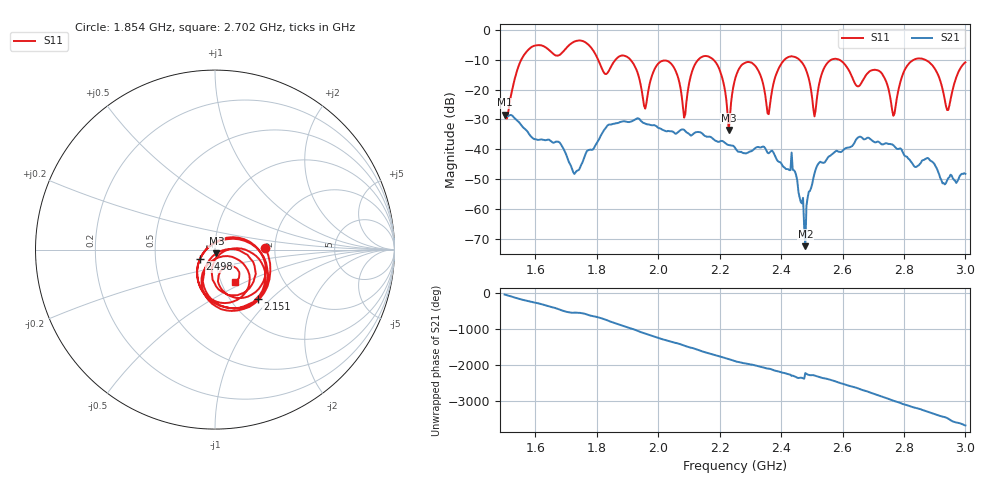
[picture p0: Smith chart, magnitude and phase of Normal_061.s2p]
# HZ S RI R 50
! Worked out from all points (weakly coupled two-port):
!   404 points, 1.5 GHz to 3 GHz, reference 50 ohm
!   highest |S21| = -28.43 dB at 1.5 GHz (marker M1); lowest = -72.4 dB at 2.479 GHz (marker M2)
!   lowest |S11| = -33.5 dB at 2.23 GHz (marker M3), VSWR 1.04, Z = 50.8 - j1.98 ohm
!   |S11| at or under -10 dB: 1.91 GHz to 2.13 GHz (220.8 MHz wide, 10.9 % of centre); 2.18 GHz to 2.411 GHz (231.5 MHz wide, 10.1 % of centre); 2.589 GHz to 2.832 GHz (243.2 MHz wide, 8.97 % of centre) (the widest 3 of 7)
!   S12 and S22 are empty: the file has one direction only
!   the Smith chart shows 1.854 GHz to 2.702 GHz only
!   S11 on the Smith chart (normalised r, x): 1.854 GHz: 1.78, +0.04; 2.151 GHz: 1.32, -0.84; 2.498 GHz: 0.84, -0.09; 2.702 GHz: 1.16, -0.44
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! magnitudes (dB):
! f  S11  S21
! 1.5 GHz  -28.2  -28.4
! 1.578 GHz  -6.6  -34.7
! 1.753 GHz  -3.7  -44.5
! 1.854 GHz  -11.0  -31.5
! 1.958 GHz  -26.4  -31.4
! 2.002 GHz  -11.1  -32.9
! 2.084 GHz  -29.4  -33.5
! 2.151 GHz  -8.8  -35.5
! 2.23 GHz  -33.5  -38.5
! 2.252 GHz  -15.9  -39.8
! 2.311 GHz  -11.6  -40.0
! 2.36 GHz  -28.2  -41.3
! 2.442 GHz  -9.0  -47.0
! 2.479 GHz  -12.8  -72.4
! 2.498 GHz  -20.1  -53.0
! 2.501 GHz  -22.9  -51.7
! 2.565 GHz  -9.9  -41.7
! 2.702 GHz  -13.4  -37.5
! 2.751 GHz  -20.2  -38.2
! 2.859 GHz  -9.6  -43.8
! 2.944 GHz  -26.8  -49.7
! 3 GHz  -10.9  -48.2
